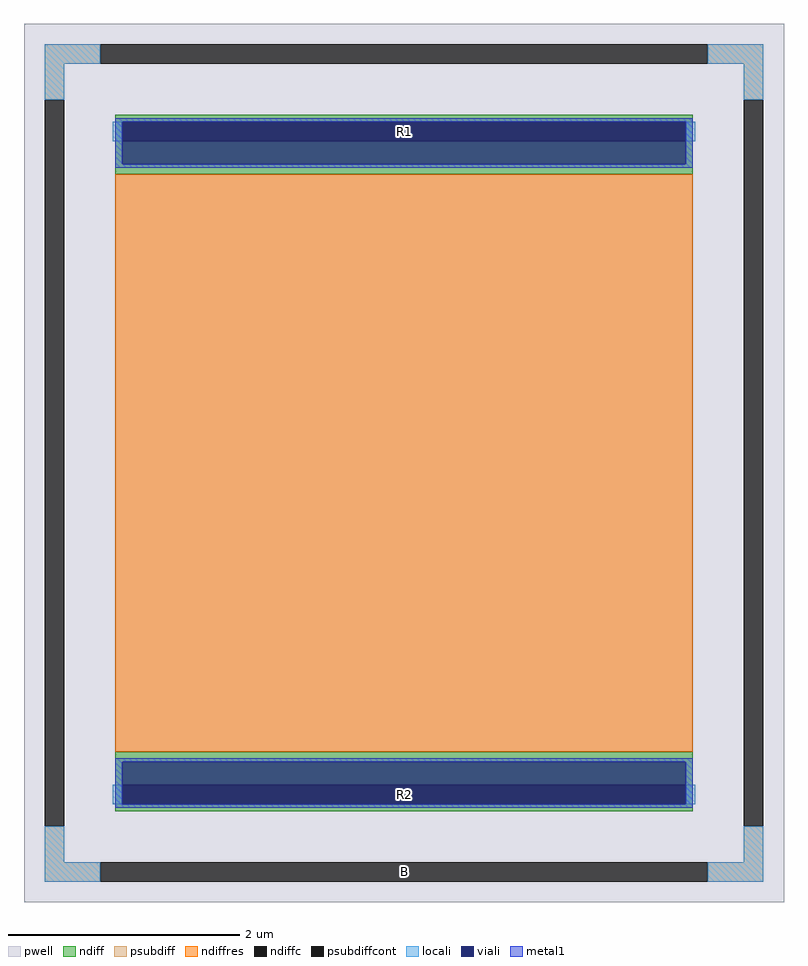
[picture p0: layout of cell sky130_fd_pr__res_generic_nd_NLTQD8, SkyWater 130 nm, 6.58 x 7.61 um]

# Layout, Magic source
magic
tech sky130A
magscale 1 2
<< pwell >>
rect -658 -761 658 761
<< ndiff >>
rect -500 591 500 603
rect -500 557 -488 591
rect 488 557 500 591
rect -500 500 500 557
rect -500 -557 500 -500
rect -500 -591 -488 -557
rect 488 -591 500 -557
rect -500 -603 500 -591
<< ndiffc >>
rect -488 557 488 591
rect -488 -591 488 -557
<< psubdiff >>
rect -622 691 -526 725
rect 526 691 622 725
rect -622 629 -588 691
rect 588 629 622 691
rect -622 -691 -588 -629
rect 588 -691 622 -629
rect -622 -725 -526 -691
rect 526 -725 622 -691
<< psubdiffcont >>
rect -526 691 526 725
rect -622 -629 -588 629
rect 588 -629 622 629
rect -526 -725 526 -691
<< ndiffres >>
rect -500 -500 500 500
<< locali >>
rect -622 691 -526 725
rect 526 691 622 725
rect -622 629 -588 691
rect 588 629 622 691
rect -504 557 -488 591
rect 488 557 504 591
rect -504 -591 -488 -557
rect 488 -591 504 -557
rect -622 -691 -588 -629
rect 588 -691 622 -629
rect -622 -725 -526 -691
rect 526 -725 622 -691
<< viali >>
rect -488 557 488 591
rect -488 517 488 557
rect -488 -557 488 -517
rect -488 -591 488 -557
<< metal1 >>
rect -500 591 500 597
rect -500 517 -488 591
rect 488 517 500 591
rect -500 511 500 517
rect -500 -517 500 -511
rect -500 -591 -488 -517
rect 488 -591 500 -517
rect -500 -597 500 -591
<< labels >>
rlabel psubdiffcont 0 -708 0 -708 0 B
port 1 nsew
rlabel ndiffc 0 574 0 574 0 R1
port 2 nsew
rlabel ndiffc 0 -574 0 -574 0 R2
port 3 nsew
<< properties >>
string FIXED_BBOX -605 -708 605 708
string gencell sky130_fd_pr__res_generic_nd
string library sky130
string parameters w 5.0 l 5.0 m 1 nx 1 wmin 0.42 lmin 2.10 class resistor rho 120 val 120.204 dummy 0 dw 0.0085 term 0.0 sterm 0.0 caplen 0.4 snake 0 guard 1 glc 1 grc 1 gtc 1 gbc 1 roverlap 0 endcov 100 full_metal 1 vias 1 doports 1 viagb 0 viagt 0 viagl 0 viagr 0 mult 1
<< end >>
